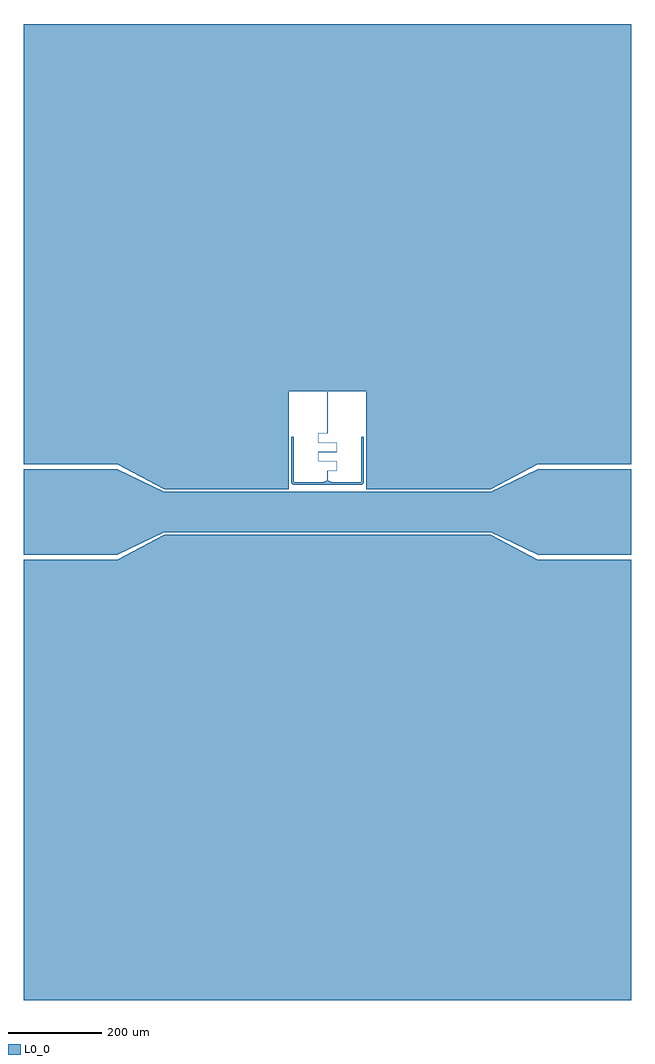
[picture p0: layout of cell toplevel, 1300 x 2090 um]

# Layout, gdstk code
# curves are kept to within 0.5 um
import gdstk
lib = gdstk.Library(unit=1e-6, precision=1e-09)
def P(c, l, *ps):  # polygons
    for p in ps: c.add(gdstk.Polygon(p, *l))
L0_0 = (0, 0)

toplevel = lib.new_cell('toplevel')
P(toplevel, L0_0, [(82.5,258.5),(82.5,48.5),(350,48.5),(450,102.575),(650,102.575),(650,1045),(-650,1045),(-650,102.575),(-450,102.575),(-350,48.5),(-82.5,48.5),(-82.5,258.5)],
  [(650,-1045),(650,-102.575),(450,-102.575),(350,-48.5),(-350,-48.5),(-450,-102.575),(-650,-102.575),(-650,-1045)],
  [(-75.109,160.998),(-76.768,160.268),(-77.498,158.609),(-77.5,65.38),(-76.915,61.9),(-74.998,59.572),(-70.644,58.5),(70.764,58.501),(74.134,59.1),(76.428,61.002),(77.5,65.38),(77.5,158.5),(76.434,160.548),(73.944,160.766),(72.502,158.609),(72.218,63.728),(-70.62,63.5),(-72.244,63.747),(-72.498,65.165),(-72.502,158.609),(-73.311,160.343)],
  [(0.3,68.5),(0.381,87.957),(1.005,88.2),(19.065,88.202),(19.97,88.518),(20.217,88.921),(20.299,89.475),(20.3,107.378),(20.034,108.412),(19.658,108.687),(19.124,108.796),(-18.99,108.8),(-19.504,108.909),(-19.686,109.277),(-19.7,127.495),(-19.451,128.122),(19.06,128.202),(19.907,128.461),(20.28,129.193),(20.298,147.565),(20.147,148.243),(19.724,148.657),(18.942,148.8),(-19.005,148.801),(-19.5,148.906),(-19.682,149.253),(-19.7,167.465),(-19.552,168.052),(-18.97,168.2),(-0.858,168.205),(-0.093,168.461),(0.268,169.117),(0.3,258.5),(-0.3,258.5),(-0.322,169.225),(-0.493,168.911),(-0.928,168.802),(-19.02,168.799),(-19.573,168.719),(-19.976,168.476),(-20.219,168.073),(-20.299,167.514),(-20.275,149.161),(-19.894,148.452),(-19.06,148.202),(19.451,148.122),(19.7,147.495),(19.685,129.273),(19.504,128.909),(19.005,128.801),(-18.942,128.8),(-19.724,128.657),(-20.147,128.243),(-20.298,127.565),(-20.281,109.199),(-19.924,108.476),(-19.118,108.204),(19.024,108.199),(19.572,108.03),(19.7,107.378),(19.7,89.53),(19.548,88.945),(18.97,88.8),(0.911,88.797),(0.257,88.647),(-0.153,88.23),(-0.3,87.47),(-0.3,68.5)],
  [(10,63.5),(0.3,68.5),(-0.3,68.5),(-10,63.5)],
  [(-350,43.5),(-450,92),(-650,92),(-650,-92),(-450,-92),(-350,-43.5),(350,-43.5),(450,-92),(650,-92),(650,92),(450,92),(350,43.5)])

lib.write_gds('toplevel.gds')
